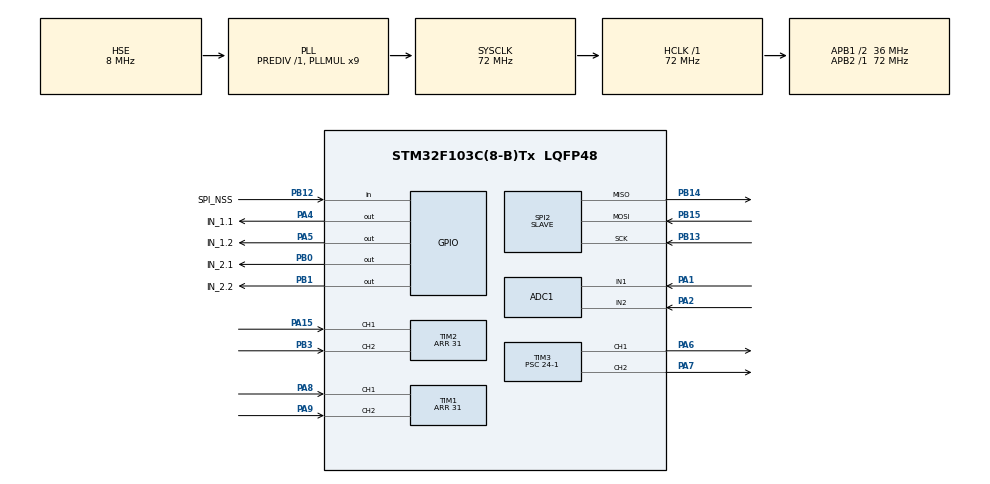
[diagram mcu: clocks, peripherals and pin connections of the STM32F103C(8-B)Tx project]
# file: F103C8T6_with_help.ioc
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ADC1.Channel-0\#ChannelRegularConversion=ADC_CHANNEL_1
ADC1.Channel-1\#ChannelRegularConversion=ADC_CHANNEL_2
ADC1.ContinuousConvMode=ENABLE
ADC1.ExternalTrigConv=ADC_EXTERNALTRIGCONV_T3_TRGO
ADC1.NbrOfConversion=2
ADC1.NbrOfConversionFlag=1
ADC1.Rank-0\#ChannelRegularConversion=1
ADC1.Rank-1\#ChannelRegularConversion=2
ADC1.SamplingTime-0\#ChannelRegularConversion=ADC_SAMPLETIME_7CYCLES_5
ADC1.SamplingTime-1\#ChannelRegularConversion=ADC_SAMPLETIME_7CYCLES_5
ADC1.master=1
Dma.ADC1.0.Direction=DMA_PERIPH_TO_MEMORY
Dma.ADC1.0.Instance=DMA1_Channel1
Dma.ADC1.0.MemDataAlignment=DMA_MDATAALIGN_HALFWORD
Dma.ADC1.0.MemInc=DMA_MINC_ENABLE
Dma.ADC1.0.Mode=DMA_NORMAL
Dma.ADC1.0.PeriphDataAlignment=DMA_PDATAALIGN_HALFWORD
Dma.ADC1.0.PeriphInc=DMA_PINC_DISABLE
Dma.ADC1.0.Priority=DMA_PRIORITY_HIGH
Dma.Request0=ADC1
Mcu.Family=STM32F1
Mcu.Name=STM32F103C(8-B)Tx
Mcu.Package=LQFP48
NVIC.DMA1_Channel1_IRQn=true\:0\:0\:false\:false\:true\:false\:true\:true
NVIC.PriorityGroup=NVIC_PRIORITYGROUP_4
NVIC.SPI2_IRQn=true\:0\:0\:false\:false\:true\:true\:true\:true
NVIC.TIM1_UP_IRQn=true\:0\:0\:false\:false\:true\:true\:true\:true
NVIC.TIM2_IRQn=true\:0\:0\:false\:false\:true\:true\:true\:true
NVIC.TIM3_IRQn=true\:0\:0\:false\:false\:true\:true\:true\:true
NVIC.TIM4_IRQn=true\:0\:0\:false\:false\:true\:true\:true\:true
PA1.Signal=ADCx_IN1
PA13.Mode=Serial_Wire
PA13.Signal=SYS_JTMS-SWDIO
PA14.Mode=Serial_Wire
PA14.Signal=SYS_JTCK-SWCLK
PA15.Signal=S_TIM2_CH1_ETR
PA2.Signal=ADCx_IN2
PA4.GPIO_Label=IN_1.1
PA4.Signal=GPIO_Output
PA5.GPIO_Label=IN_1.2
PA5.Signal=GPIO_Output
PA6.Signal=S_TIM3_CH1
PA7.Signal=S_TIM3_CH2
PA8.Signal=S_TIM1_CH1
PA9.Signal=S_TIM1_CH2
PB0.GPIO_Label=IN_2.1
PB0.Signal=GPIO_Output
PB1.GPIO_Label=IN_2.2
PB1.Signal=GPIO_Output
PB12.GPIO_Label=SPI_NSS
PB12.Signal=GPIO_Input
PB13.Mode=Full_Duplex_Slave
PB13.Signal=SPI2_SCK
PB14.Mode=Full_Duplex_Slave
PB14.Signal=SPI2_MISO
PB15.Mode=Full_Duplex_Slave
PB15.Signal=SPI2_MOSI
PB3.Signal=S_TIM2_CH2
PD0-OSC_IN.Mode=HSE-External-Oscillator
PD0-OSC_IN.Signal=RCC_OSC_IN
PD1-OSC_OUT.Mode=HSE-External-Oscillator
PD1-OSC_OUT.Signal=RCC_OSC_OUT
ProjectManager.HeapSize=0x200
ProjectManager.StackSize=0x400
ProjectManager.TargetToolchain=STM32CubeIDE
RCC.ADCPresc=RCC_ADCPCLK2_DIV6
RCC.AHBFreq_Value=72000000
RCC.APB1CLKDivider=RCC_HCLK_DIV2
RCC.APB1Freq_Value=36000000
RCC.APB1TimFreq_Value=72000000
RCC.APB2Freq_Value=72000000
RCC.APB2TimFreq_Value=72000000
RCC.HCLKFreq_Value=72000000
RCC.PLLMUL=RCC_PLL_MUL9
RCC.PLLSourceVirtual=RCC_PLLSOURCE_HSE
RCC.SYSCLKFreq_VALUE=72000000
RCC.SYSCLKSource=RCC_SYSCLKSOURCE_PLLCLK
RCC.USBFreq_Value=72000000
SH.ADCx_IN1.0=ADC1_IN1,IN1
SH.ADCx_IN2.0=ADC1_IN2,IN2
SH.S_TIM1_CH1.0=TIM1_CH1,Encoder_Interface
SH.S_TIM1_CH2.0=TIM1_CH2,Encoder_Interface
SH.S_TIM2_CH1_ETR.0=TIM2_CH1,Encoder_Interface
SH.S_TIM2_CH2.0=TIM2_CH2,Encoder_Interface
SH.S_TIM3_CH1.0=TIM3_CH1,PWM Generation1 CH1
SH.S_TIM3_CH2.0=TIM3_CH2,PWM Generation2 CH2
SPI2.CRCCalculation=SPI_CRCCALCULATION_ENABLE
SPI2.Direction=SPI_DIRECTION_2LINES
SPI2.Mode=SPI_MODE_SLAVE
SPI2.VirtualType=VM_SLAVE
TIM1.Period=31
TIM2.Period=31
TIM3.Channel-PWM\ Generation1\ CH1=TIM_CHANNEL_1
TIM3.Channel-PWM\ Generation2\ CH2=TIM_CHANNEL_2
TIM3.CounterMode=TIM_COUNTERMODE_CENTERALIGNED1
TIM3.Period=1000-1
TIM3.Prescaler=24-1
TIM3.TIM_MasterOutputTrigger=TIM_TRGO_UPDATE
TIM4.Period=1000-1
TIM4.Prescaler=7200-1
VP_TIM4_VS_ClockSourceINT.Mode=Internal
board=custom

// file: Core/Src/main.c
/* USER CODE BEGIN Header */
/**
 ******************************************************************************
 * @file           : main.c
 * @brief          : Main program body
 ******************************************************************************
 * @attention
 *
 * Copyright (c) 2022 STMicroelectronics.
 * All rights reserved.
 *
 * This software is licensed under terms that can be found in the LICENSE file
 * in the root directory of this software component.
 * If no LICENSE file comes with this software, it is provided AS-IS.
 *
 ******************************************************************************
 */
/* USER CODE END Header */
#include "main.h"
#include "adc.h"
#include "dma.h"
#include "spi.h"
#include "tim.h"
#include "gpio.h"

/* USER CODE BEGIN Includes */
#include "stdbool.h"
#include "stdlib.h"
#include "string.h"
#include "math.h"
#include <stdio.h>
#include <stdint.h>
/* USER CODE END Includes */

/* USER CODE BEGIN PD */
//#define NUM_READ 30
#define NUM_READ 30
//UIRS-2
/* USER CODE END PD */

/* USER CODE BEGIN PV */

struct Motor motor_1;
struct Motor motor_2;

volatile uint16_t adcValBuf[2] = { 0, };

volatile uint8_t adcFlag;

volatile uint16_t adcValueCh1, adcValueCh2;
volatile float cs1ADCValFilter, cs2ADCValFilter;

volatile uint16_t enc1Flag, enc2Flag;
volatile uint16_t enc1Value, enc2Value;

int pid_flag;

volatile int32_t enc1Val, resultEncValMot1, pervTickMot1;
volatile int32_t enc2Val, resultEncValMot2, pervTickMot2;

const float pwm_step = 5;

void detect_and_limit_oscillations(struct Motor *motor, float osc_threshold) {
	if (fabs(motor->pwm_difference) > osc_threshold
			&& fabs(motor->err_angle) <= motor->hyst_error) {
		(motor->osc_counter)++;
	} else {
		motor->osc_counter = 0;
	}

	if (motor->osc_counter > 0) {
		if (motor->pwm_difference > 0) {
			motor->out_pwm = motor->previous_pwm + pwm_step;
		} else {
			motor->out_pwm = motor->previous_pwm - pwm_step;
		}
	}
}
//void pid(struct Motor *motor, int choice) {
//	motor->counter_pid++;
//	if (motor->counter_pid >= 300) {
//		motor->task_real = motor->task * 27;
//		motor->hyst_error = 100;
//		motor->err_angle = motor->task_real - motor->angle;
//
//		if (fabs(motor->err_angle) <= motor->hyst_error) {
//			motor->err_angle = 0;
//		}
//
//		motor->out_angle = motor->err_angle * motor->kp_angle;
//		if (motor->out_angle > 8000) {
//			motor->out_angle = 8000;
//		}
//		if (motor->out_angle < -8000) {
//			motor->out_angle = -8000;
//		}
//		motor->err_speed = motor->out_angle - motor->speed;
//
//		if (fabs(motor->err_angle) <= motor->hyst_error) {
//			motor->err_speed = 0;
//		}
//
//		motor->P_speed = motor->err_speed * motor->kp_speed;
//		motor->I_speed += motor->err_speed * motor->ki_speed * 0.1;
//		if (motor->I_speed >= 2.5) {
//			motor->I_speed = 2.5;
//		}
//		if (motor->I_speed <= -2.5) {
//			motor->I_speed = -2.5;
//		}
//		motor->out_speed = motor->P_speed + motor->I_speed;
//
//		if (motor->out_speed >= 2.5) {
//			motor->out_speed = 2.5;
//		}
//		if (motor->out_speed <= -2.5) {
//			motor->out_speed = -2.5;
//		}
//		motor->err_current = motor->out_speed - motor->current;
//
//		if (fabs(motor->err_angle) <= motor->hyst_error) {
//			motor->err_current = 0;
//		}
//
//		motor->P_current = motor->err_current * motor->kp_current;
//		motor->I_current += motor->err_current * motor->ki_current * 0.1;
//
//		if (motor->I_current >= 1) {
//			motor->I_current = 1;
//		}
//		if (motor->I_current <= -1) {
//			motor->I_current = -1;
//		}
//
//		motor->out_current = motor->P_current + motor->I_current;
//
//		if (choice == 1) {
//			if (motor->out_current >= 0) {
//				HAL_GPIO_WritePin(GPIOA, IN_1_1_Pin, GPIO_PIN_SET);
//				HAL_GPIO_WritePin(GPIOA, IN_1_2_Pin, GPIO_PIN_RESET);
//
//			}
//			if (motor->out_current < 0) {
//				HAL_GPIO_WritePin(GPIOA, IN_1_1_Pin, GPIO_PIN_RESET);
//				HAL_GPIO_WritePin(GPIOA, IN_1_2_Pin, GPIO_PIN_SET);
//			}
//		}
//
//		if (choice == 2) {
//			if (motor->out_current >= 0) {
//				HAL_GPIO_WritePin(GPIOB, IN_2_1_Pin, GPIO_PIN_SET);
//				HAL_GPIO_WritePin(GPIOB, IN_2_2_Pin, GPIO_PIN_RESET);
//			}
//			if (motor->out_current < 0) {
//				HAL_GPIO_WritePin(GPIOB, IN_2_1_Pin, GPIO_PIN_RESET);
//				HAL_GPIO_WritePin(GPIOB, IN_2_2_Pin, GPIO_PIN_SET);
//			}
//		}
//
//		if (motor->out_current >= 1) {
//			motor->out_current_limited = 1;
//		}
//		if (motor->out_current <= -1) {
//			motor->out_current_limited = -1;
//		}
//		if (motor->out_current > -1 && motor->out_current < 1) {
//			motor->out_current_limited = motor->out_current;
//		}
//
//		motor->out_pwm = fabsf(motor->out_current_limited * 1000);
//		if (motor->out_pwm < 2) {
//			motor->out_pwm = 1;
//		}
//		if (motor->out_pwm > 990) {
//			motor->out_pwm = 990;
//		}
//		motor->pwm_difference = motor->out_pwm - motor->previous_pwm;
//
//		if (fabs(motor->pwm_difference) > pwm_step) {
//			if (motor->pwm_difference > 0) {
//				motor->out_pwm = motor->previous_pwm + pwm_step;
//			} else {
//				motor->out_pwm = motor->previous_pwm - pwm_step;
//			}
//		}
//		if (choice == 1) {
//			TIM3->CCR1 = motor->out_pwm;
//		} else if (choice == 2) {
//			TIM3->CCR2 = motor->out_pwm;
//		}
//		motor->previous_pwm = motor->out_pwm;
//
//		motor->counter_pid = 0;
//	}
//
//}

volatile float tasking;
void pid(struct Motor *motor, float task, int choice) {
//	motor->counter_pid++;
//	motor->task_real = task * 27;
//	motor->hyst_error = 50;
//	if (motor->counter_pid >= 300) {
//		motor->err_angle = motor->task_real - motor->angle;
//
//		if (fabs(motor->err_angle) <= motor->hyst_error) {
//			motor->err_angle = 0;
//
//			if (choice == 1) {
//				TIM3->CCR1 -=2;
//			} else if (choice == 2) {
//				TIM3->CCR2 -=2;
//			}
//		}
//
//		motor->out_angle = motor->err_angle * motor->kp_angle;
//		if (motor->out_angle > 8000) {
//			motor->out_angle = 8000;
//		}
//		if (motor->out_angle < -8000) {
//			motor->out_angle = -8000;
//		}
//		motor->err_speed = motor->out_angle - motor->speed;
//
//		if (fabs(motor->err_angle) <= motor->hyst_error) {
//			motor->err_speed = 0;
////			motor->I_speed -= motor->err_speed * motor->ki_speed * 0.1;
//			motor->I_speed = 0;
//		}
//
//		motor->P_speed = motor->err_speed * motor->kp_speed;
//		motor->I_speed += motor->err_speed * motor->ki_speed * 0.1;
//		if (motor->I_speed >= 2.5) {
//			motor->I_speed = 2.5;
//		}
//		if (motor->I_speed <= -2.5) {
//			motor->I_speed = -2.5;
//		}
//		motor->out_speed = motor->P_speed + motor->I_speed;
//
//		if (motor->out_speed >= 2.5) {
//			motor->out_speed = 2.5;
//		}
//		if (motor->out_speed <= -2.5) {
//			motor->out_speed = -2.5;
//		}
//		motor->counter_pid = 0;
//	}

//	motor->err_current = motor->out_speed - motor->current;
	motor->err_current = task - motor->current;

//	if (fabs(motor->err_angle) <= motor->hyst_error) {
//		motor->err_current = 0;
//		motor->I_current = 0;
////		motor->I_current -= motor->err_current * motor->ki_current * 0.000333;
//	}

	motor->P_current = motor->err_current * motor->kp_current;
	motor->I_current += motor->err_current * motor->ki_current * 0.000333;

	if (motor->I_current >= 1) {
		motor->I_current = 1;
	}
	if (motor->I_current <= -1) {
		motor->I_current = -1;
	}

	motor->out_current = motor->P_current + motor->I_current + motor->speed*0.003375;

	if (choice == 1) {
		if (motor->out_current >= 0) {
			HAL_GPIO_WritePin(GPIOA, IN_1_1_Pin, GPIO_PIN_SET);
			HAL_GPIO_WritePin(GPIOA, IN_1_2_Pin, GPIO_PIN_RESET);

		}
		if (motor->out_current < 0) {
			HAL_GPIO_WritePin(GPIOA, IN_1_1_Pin, GPIO_PIN_RESET);
			HAL_GPIO_WritePin(GPIOA, IN_1_2_Pin, GPIO_PIN_SET);
		}
	}

	if (choice == 2) {
		if (motor->out_current >= 0) {
			HAL_GPIO_WritePin(GPIOB, IN_2_1_Pin, GPIO_PIN_SET);
			HAL_GPIO_WritePin(GPIOB, IN_2_2_Pin, GPIO_PIN_RESET);
		}
		if (motor->out_current < 0) {
			HAL_GPIO_WritePin(GPIOB, IN_2_1_Pin, GPIO_PIN_RESET);
			HAL_GPIO_WritePin(GPIOB, IN_2_2_Pin, GPIO_PIN_SET);
		}
	}

	if (motor->out_current >= 1) {
		motor->out_current_limited = 1;
	}
	if (motor->out_current <= -1) {
		motor->out_current_limited = -1;
	}
	if (motor->out_current > -1 && motor->out_current < 1) {
		motor->out_current_limited = motor->out_current;
	}

	motor->out_pwm = fabsf(motor->out_current_limited * 1000);
	if (motor->out_pwm < 2) {
		motor->out_pwm = 1;
	}
	if (motor->out_pwm > 990) {
		motor->out_pwm = 990;
	}
//	motor->pwm_difference = motor->out_pwm - motor->previous_pwm;

//	detect_and_limit_oscillations(motor, 0.5);

//	if (fabs(motor->pwm_difference) > pwm_step) {
//		if (motor->pwm_difference > 0) {
//			motor->out_pwm = motor->previous_pwm + pwm_step;
//		} else {
//			motor->out_pwm = motor->previous_pwm - pwm_step;
//		}
//	}
	if (choice == 1) {
		TIM3->CCR1 = motor->out_pwm;
	} else if (choice == 2) {
		TIM3->CCR2 = motor->out_pwm;
	}
//	motor->previous_pwm = motor->out_pwm;
}

float cs1Voltage, cs2Voltage;
float cs1Current, cs2Current;

int counter_test, flag_swtich;

int32_t slave_transmit[6];
int32_t slave_receive[6];

int32_t float_to_int32(float value) {
	float scaled_value = value * 1000000.0f;
	int32_t int_value = (int32_t) round(scaled_value);
	return int_value;
}

/* USER CODE END PV */

void SystemClock_Config(void);
/* USER CODE BEGIN PFP */
int Median_ADC_CS1(int newVal);
int Median_ADC_CS2(int newVal);
float Median_Cur_CS1(float newVal);
float Median_Cur_CS2(float newVal);
float simpleKalman1(float newVal);
float simpleKalman2(float newVal);
void currentSearch(float cs1ADCValFilter, float cs2ADCValFilter);
/* USER CODE END PFP */

int main(void) {

	/* MCU Configuration--------------------------------------------------------*/

	/* Reset of all peripherals, Initializes the Flash interface and the Systick. */
	HAL_Init();

	/* USER CODE BEGIN Init */
	motor_1.kp_angle = 0.412;
	motor_1.kp_speed = 0.000085;
	motor_1.ki_speed = 0.000098;
	motor_1.kp_current = 0.0001;
	motor_1.ki_current = 19.0;

	motor_2.kp_angle = 0.4;
	motor_2.kp_speed = 0.000071;
	motor_2.ki_speed = 0.000098;
	motor_2.kp_current = 0.0001;
	motor_2.ki_current = 19.0;

	/* USER CODE END Init */

	/* Configure the system clock */
	SystemClock_Config();

	/* Initialize all configured peripherals */
	MX_GPIO_Init();
	MX_DMA_Init();
	MX_ADC1_Init();
	MX_TIM1_Init();
	MX_TIM2_Init();
	MX_TIM3_Init();
	MX_SPI2_Init();
	MX_TIM4_Init();
	/* USER CODE BEGIN 2 */
	HAL_ADC_Start_DMA(&hadc1, (uint32_t*) &adcValBuf, 2);

	if (_ENABLE_MOTOR_1) {
		HAL_TIM_PWM_Start_IT(&htim3, TIM_CHANNEL_1);

		__HAL_TIM_CLEAR_IT(&htim1, TIM_IT_UPDATE);
		HAL_TIM_Encoder_Start_IT(&htim1, TIM_CHANNEL_ALL);
		HAL_TIM_Base_Start_IT(&htim1);

		HAL_GPIO_WritePin(GPIOA, IN_1_1_Pin, GPIO_PIN_RESET);
		HAL_GPIO_WritePin(GPIOA, IN_1_2_Pin, GPIO_PIN_SET);

//		HAL_GPIO_WritePin(GPIOA, IN_1_1_Pin, GPIO_PIN_RESET); ПОЛОЖИТЕЛЬНОЕ
		TIM3->CCR1 = 1;
	}

	if (_ENABLE_MOTOR_2) {
		HAL_TIM_PWM_Start_IT(&htim3, TIM_CHANNEL_2);

		__HAL_TIM_CLEAR_IT(&htim2, TIM_IT_UPDATE);
		HAL_TIM_Encoder_Start(&htim2, TIM_CHANNEL_ALL);
		HAL_TIM_Base_Start_IT(&htim2);

		HAL_GPIO_WritePin(GPIOB, IN_2_1_Pin, GPIO_PIN_SET);
		HAL_GPIO_WritePin(GPIOB, IN_2_2_Pin, GPIO_PIN_RESET);

//		HAL_GPIO_WritePin(GPIOB, IN_2_1_Pin, GPIO_PIN_SET); ПОЛОЖИТЕЛЬНОЕ
		TIM3->CCR2 = 1;
	}
	/* USER CODE END 2 */

	/* Infinite loop */
	/* USER CODE BEGIN WHILE */
	while (1) {

		if (TIM3->CCR1 == 0) {
			TIM3->CCR1 = 1;
		}
		if (TIM3->CCR2 == 0) {
			TIM3->CCR2 = 1;
		}
		if (adcFlag == 1) {
			adcFlag = 0;
			HAL_ADC_Stop_DMA(&hadc1);
			adcValueCh1 = adcValBuf[0];
			adcValueCh2 = adcValBuf[1];
			adcValBuf[0] = 0;
			adcValBuf[1] = 0;
			HAL_ADC_Start_DMA(&hadc1, (uint32_t*) &adcValBuf, 2);
		}

		if (_ENABLE_MOTOR_1) {
			cs1ADCValFilter = Median_ADC_CS1(adcValueCh1);

		}
		if (_ENABLE_MOTOR_2) {
			cs2ADCValFilter = Median_ADC_CS2(adcValueCh2);
		}

		currentSearch(cs1ADCValFilter, cs2ADCValFilter);

		if (_ENABLE_MOTOR_1) {
			enc1Value = TIM1->CNT;
		}
		if (_ENABLE_MOTOR_2) {
			enc2Value = TIM2->CNT;
		}

		if (pid_flag == 1) {
//			pid(&motor_1, tasking, 1);
			pid(&motor_2, tasking, 2);
			pid_flag = 0;
		}
//
//		counter_test++;
//		if (counter_test > 15000) {
//			motor_2.P_current = 0;
//			motor_2.I_current = 0;
//			motor_2.P_speed = 0;
//			motor_2.I_speed = 0;
//			motor_2.out_angle = 0;
//			tasking += 360;
//			counter_test = 0;
//		}
//		counter_test++;
//		if (counter_test > 9000 && counter_test < 18000) {
//			motor_1.task = 360;
//			motor_2.task = 360;
//		}
//		if (counter_test > 18000 && counter_test < 27000) {
//			motor_1.task = 0;
//			motor_2.task = 0;
//		}
//		if (counter_test > 27000) {
//			counter_test = 0;
//		}

//		HAL_GPIO_WritePin(GPIOB, IN_2_1_Pin, GPIO_PIN_SET);
//		HAL_GPIO_WritePin(GPIOB, IN_2_2_Pin, GPIO_PIN_RESET);
//		TIM3->CCR2 = 250;
////
//		HAL_GPIO_WritePin(GPIOA, IN_1_1_Pin, GPIO_PIN_RESET);
//		HAL_GPIO_WritePin(GPIOA, IN_1_2_Pin, GPIO_PIN_SET);
//		TIM3->CCR1 = 500;
//		if (_SPI_ENABLE) {
//			slave_transmit[0] = float_to_int32(cs1RealCur);
//			slave_transmit[1] = float_to_int32(realVelMot1);
//			slave_transmit[2] = float_to_int32(angle_1);
//
//			slave_transmit[3] = float_to_int32(cs2RealCur);
//			slave_transmit[4] = float_to_int32(realVelMot2);
//			slave_transmit[5] = float_to_int32(angle_2);
//
//			if (HAL_GPIO_ReadPin(SPI_NSS_GPIO_Port, SPI_NSS_Pin) == 0) {
//
//				HAL_TIM_Base_Start_IT(&htim4);
//				if (__HAL_TIM_GET_FLAG(&htim4, TIM_FLAG_UPDATE) != RESET) {
//					__HAL_TIM_CLEAR_IT(&htim4, TIM_IT_UPDATE);
//				}
//			}
//		}

//		counter_test++;
//		if (flag_swtich == 0) {
//
//			if (counter_test > 2000) {
//				TIM3->CCR1 += 70;
//				if (TIM3->CCR1 > 800) {
//					flag_swtich = 1;
//					counter_test = 0;
//				}
//				counter_test = 0;
//			}
//
//		if (flag_swtich == 1){
//			if (counter_test > 100){
//				TIM3->CCR1 --;
//				counter_test =0;
//			}
//			if (TIM3->CCR1 <10){
//				flag_swtich = 0;
//				counter_test =0;
//			}
//
//		}

//		if (flag_swtich == 0) {
//			HAL_GPIO_WritePin(GPIOB, IN_2_1_Pin, GPIO_PIN_SET);
//			HAL_GPIO_WritePin(GPIOB, IN_2_2_Pin, GPIO_PIN_RESET);
//			TIM3->CCR2 = 500;
//
//			HAL_GPIO_WritePin(GPIOA, IN_1_1_Pin, GPIO_PIN_RESET);
//			HAL_GPIO_WritePin(GPIOA, IN_1_2_Pin, GPIO_PIN_SET);
//			TIM3->CCR1 = 500;
//			counter_test++;
//			if (counter_test > 9000) {
//				counter_test = 0;
//				flag_swtich = 1;
//				counter_test = 0;
//			}
//		}
//
//		if (flag_swtich == 1) {
//			counter_test++;
//			if (counter_test > 5) {
//				TIM3->CCR2 --;
//				TIM3->CCR1--;
//				counter_test = 0;
//			}
//			if (TIM3->CCR1 < 5) {
//				counter_test = 0;
//				TIM3->CCR1 = 0;
//				TIM3->CCR2 = 0;
//				flag_swtich = 2;
//
//			}
//		}
//
//		if (flag_swtich == 2) {
//
//			HAL_GPIO_WritePin(GPIOB, IN_2_1_Pin, GPIO_PIN_RESET);
//			HAL_GPIO_WritePin(GPIOB, IN_2_2_Pin, GPIO_PIN_SET);
//			TIM3->CCR2 = 500;
//
//			HAL_GPIO_WritePin(GPIOA, IN_1_1_Pin, GPIO_PIN_SET);
//			HAL_GPIO_WritePin(GPIOA, IN_1_2_Pin, GPIO_PIN_RESET);
//			TIM3->CCR1 = 500;
//			counter_test++;
//			if (counter_test > 9000) {
//				counter_test = 0;
//				flag_swtich = 3;
//				counter_test = 0;
//			}
//		}
//
//		if (flag_swtich == 3) {
//			counter_test++;
//			if (counter_test > 5) {
//				TIM3->CCR2 --;
//				TIM3->CCR1--;
//				counter_test = 0;
//			}
//			if (TIM3->CCR1 < 5) {
//				counter_test = 0;
//				TIM3->CCR2 = 0;
//				TIM3->CCR1 = 0;
//				flag_swtich = 0;
//			}
//		}
		/* USER CODE END WHILE */

	}
}

void SystemClock_Config(void) {
	RCC_OscInitTypeDef RCC_OscInitStruct = { 0 };
	RCC_ClkInitTypeDef RCC_ClkInitStruct = { 0 };
	RCC_PeriphCLKInitTypeDef PeriphClkInit = { 0 };

	/** Initializes the RCC Oscillators according to the specified parameters
	 * in the RCC_OscInitTypeDef structure.
	 */
	RCC_OscInitStruct.OscillatorType = RCC_OSCILLATORTYPE_HSE;
	RCC_OscInitStruct.HSEState = RCC_HSE_ON;
	RCC_OscInitStruct.HSEPredivValue = RCC_HSE_PREDIV_DIV1;
	RCC_OscInitStruct.HSIState = RCC_HSI_ON;
	RCC_OscInitStruct.PLL.PLLState = RCC_PLL_ON;
	RCC_OscInitStruct.PLL.PLLSource = RCC_PLLSOURCE_HSE;
	RCC_OscInitStruct.PLL.PLLMUL = RCC_PLL_MUL9;
	if (HAL_RCC_OscConfig(&RCC_OscInitStruct) != HAL_OK) {
		Error_Handler();
	}

	/** Initializes the CPU, AHB and APB buses clocks
	 */
	RCC_ClkInitStruct.ClockType = RCC_CLOCKTYPE_HCLK | RCC_CLOCKTYPE_SYSCLK
			| RCC_CLOCKTYPE_PCLK1 | RCC_CLOCKTYPE_PCLK2;
	RCC_ClkInitStruct.SYSCLKSource = RCC_SYSCLKSOURCE_PLLCLK;
	RCC_ClkInitStruct.AHBCLKDivider = RCC_SYSCLK_DIV1;
	RCC_ClkInitStruct.APB1CLKDivider = RCC_HCLK_DIV2;
	RCC_ClkInitStruct.APB2CLKDivider = RCC_HCLK_DIV1;

	if (HAL_RCC_ClockConfig(&RCC_ClkInitStruct, FLASH_LATENCY_2) != HAL_OK) {
		Error_Handler();
	}
	PeriphClkInit.PeriphClockSelection = RCC_PERIPHCLK_ADC;
	PeriphClkInit.AdcClockSelection = RCC_ADCPCLK2_DIV6;
	if (HAL_RCCEx_PeriphCLKConfig(&PeriphClkInit) != HAL_OK) {
		Error_Handler();
	}
}

/* USER CODE BEGIN 4 */

void currentSearch(float cs1ADCValFilter, float cs2ADCValFilter) {
	cs1Voltage = cs1ADCValFilter * _CS1_PRESCAL;
	cs2Voltage = cs2ADCValFilter * _CS2_PRESCAL;

	cs1Current = (cs1Voltage - _CS1_VOLTAGE_MID_POINT) / _CS1_SENS;

	cs2Current = (cs2Voltage - _CS2_VOLTAGE_MID_POINT) / _CS2_SENS;

	motor_1.current = simpleKalman1(Median_Cur_CS1(cs1Current));

	motor_2.current = simpleKalman2(Median_Cur_CS2(cs2Current));
}

int Median_ADC_CS1(int newVal) {
	static float buffer[NUM_READ];  // ����������� �����
	static uint32_t count = 0;
	buffer[count] = newVal;
	if ((count < NUM_READ - 1) && (buffer[count] > buffer[count + 1])) {
		for (int i = count; i < NUM_READ - 1; i++) {
			if (buffer[i] > buffer[i + 1]) {
				float buff = buffer[i];
				buffer[i] = buffer[i + 1];
				buffer[i + 1] = buff;
			}
		}
	} else {
		if ((count > 0) && (buffer[count - 1] > buffer[count])) {
			for (int i = count; i > 0; i--) {
				if (buffer[i] < buffer[i - 1]) {
					float buff = buffer[i];
					buffer[i] = buffer[i - 1];
					buffer[i - 1] = buff;
				}
			}
		}
	}
	if (++count >= NUM_READ)
		count = 0;
	return buffer[(int) NUM_READ / 2];
}

int Median_ADC_CS2(int newVal) {
	static float buffer[NUM_READ];  // ����������� �����
	static uint32_t count = 0;
	buffer[count] = newVal;
	if ((count < NUM_READ - 1) && (buffer[count] > buffer[count + 1])) {
		for (int i = count; i < NUM_READ - 1; i++) {
			if (buffer[i] > buffer[i + 1]) {
				float buff = buffer[i];
				buffer[i] = buffer[i + 1];
				buffer[i + 1] = buff;
			}
		}
	} else {
		if ((count > 0) && (buffer[count - 1] > buffer[count])) {
			for (int i = count; i > 0; i--) {
				if (buffer[i] < buffer[i - 1]) {
					float buff = buffer[i];
					buffer[i] = buffer[i - 1];
					buffer[i - 1] = buff;
				}
			}
		}
	}
	if (++count >= NUM_READ)
		count = 0;
	return buffer[(int) NUM_READ / 2];
}

float Median_Cur_CS1(float newVal) {
	static float buffer[NUM_READ];  // ����������� �����
	static uint32_t count = 0;
	buffer[count] = newVal;
	if ((count < NUM_READ - 1) && (buffer[count] > buffer[count + 1])) {
		for (int i = count; i < NUM_READ - 1; i++) {
			if (buffer[i] > buffer[i + 1]) {
				float buff = buffer[i];
				buffer[i] = buffer[i + 1];
				buffer[i + 1] = buff;
			}
		}
	} else {
		if ((count > 0) && (buffer[count - 1] > buffer[count])) {
			for (int i = count; i > 0; i--) {
				if (buffer[i] < buffer[i - 1]) {
					float buff = buffer[i];
					buffer[i] = buffer[i - 1];
					buffer[i - 1] = buff;
				}
			}
		}
	}
	if (++count >= NUM_READ)
		count = 0;
	return buffer[(int) NUM_READ / 2];
}

float Median_Cur_CS2(float newVal) {
	static float buffer[NUM_READ];  // ����������� �����
	static uint32_t count = 0;
	buffer[count] = newVal;
	if ((count < NUM_READ - 1) && (buffer[count] > buffer[count + 1])) {
		for (int i = count; i < NUM_READ - 1; i++) {
			if (buffer[i] > buffer[i + 1]) {
				float buff = buffer[i];
				buffer[i] = buffer[i + 1];
				buffer[i + 1] = buff;
			}
		}
	} else {
		if ((count > 0) && (buffer[count - 1] > buffer[count])) {
			for (int i = count; i > 0; i--) {
				if (buffer[i] < buffer[i - 1]) {
					float buff = buffer[i];
					buffer[i] = buffer[i - 1];
					buffer[i - 1] = buff;
				}
			}
		}
	}
	if (++count >= NUM_READ)
		count = 0;
	return buffer[(int) NUM_READ / 2];
}

float _err_measure = 0.4;
float _q = 0.05;
float simpleKalman1(float newVal) {
	float _kalman_gain, _current_estimate;
	static float _err_estimate = 0.04;
	static float _last_estimate;
	_kalman_gain = (float) _err_estimate / (_err_estimate + _err_measure);
	_current_estimate = _last_estimate
			+ (float) _kalman_gain * (newVal - _last_estimate);
	_err_estimate = (1.0 - _kalman_gain) * _err_estimate
			+ fabs(_last_estimate - _current_estimate) * _q;
	_last_estimate = _current_estimate;
	return _current_estimate;
}

float simpleKalman2(float newVal) {
	float _kalman_gain, _current_estimate;
	static float _err_estimate = 0.04;
	static float _last_estimate;
	_kalman_gain = (float) _err_estimate / (_err_estimate + _err_measure);
	_current_estimate = _last_estimate
			+ (float) _kalman_gain * (newVal - _last_estimate);
	_err_estimate = (1.0 - _kalman_gain) * _err_estimate
			+ fabs(_last_estimate - _current_estimate) * _q;
	_last_estimate = _current_estimate;
	return _current_estimate;
}
/* USER CODE END 4 */

void Error_Handler(void) {
	__disable_irq();
	while (1) {
	}
}
